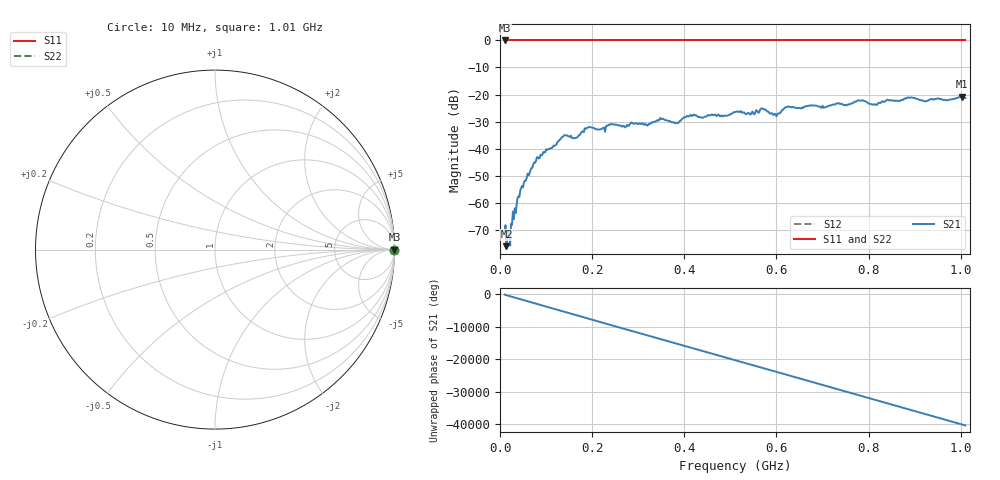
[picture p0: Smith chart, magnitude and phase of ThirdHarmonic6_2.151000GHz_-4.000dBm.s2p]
! 8/17/2025 1:40:54 AM
! C:\ANRITSUVNA\TEMP\TEMP.S2P
! CHANNEL.1
! TR.MEASUREMENT
! RAW.DATA
! RF.CORRECTION.OFF
! AVERAGING.OFF
! IF.BANDWIDTH: 5KHZ
! SWEEPTYPE:  FREQ.SWEEP(Linear)
! Reference Plane Port Info
! PORT:  PORT1  PORT2
! DISTANCE:  0  m  0  m
! TIME:  0  s  0  s
! PHASE.OFFSET:  0  deg.  0  deg.
! LOSS:  0  dB  0  dB
! REF.LOSS:  0  dB  0  dB
! REF.FREQ:  0  Hz  0  Hz
! Power Info
! POWER:  -20  dBm  -20  dBm
! EFF.POWER:  -20  dBm  -20  dBm
! SOURCE.ATTEN:  0  dB  0  dB
! TEST.ATTEN:  0  dB  0  dB
# GHZ S RI R 50.0
! FREQ.GHZ  S11RE  S11IM  S21RE  S21IM  S12RE  S12IM  S22RE  S22IM
!; PortSelection: Port_12
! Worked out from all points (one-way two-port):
!   501 points, 10 MHz to 1.01 GHz, reference 50 ohm
!   highest |S21| = -20.78 dB at 1.002 GHz (marker M1); lowest = -76.1 dB at 14 MHz (marker M2)
!   lowest |S11| = 0.0 dB at 10 MHz (marker M3)
!   |S11| at or under -10 dB: nowhere
!   |S22| runs from 0.0 to 0.0 dB; largest |S21 - S12| = 1.1
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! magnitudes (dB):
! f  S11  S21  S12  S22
! 10 MHz  0.0  -70.3  0.0  0.0
! 14 MHz  0.0  -76.1  0.0  0.0
! 18 MHz  0.0  -70.4  0.0  0.0
! 42 MHz  0.0  -57.9  0.0  0.0
! 78 MHz  0.0  -44.6  0.0  0.0
! 138 MHz  0.0  -35.4  0.0  0.0
! 162 MHz  0.0  -36.2  0.0  0.0
! 178 MHz  0.0  -33.8  0.0  0.0
! 194 MHz  0.0  -32.0  0.0  0.0
! 318 MHz  0.0  -31.3  0.0  0.0
! 344 MHz  0.0  -29.7  0.0  0.0
! 382 MHz  0.0  -30.4  0.0  0.0
! 410 MHz  0.0  -28.1  0.0  0.0
! 510 MHz  0.0  -26.5  0.0  0.0
! 570 MHz  0.0  -25.2  0.0  0.0
! 596 MHz  0.0  -27.1  0.0  0.0
! 622 MHz  0.0  -24.7  0.0  0.0
! 678 MHz  0.0  -24.0  0.0  0.0
! 814 MHz  0.0  -23.6  0.0  0.0
! 844 MHz  0.0  -22.2  0.0  0.0
! 1.002 GHz  0.0  -20.8  0.0  0.0
! 1.01 GHz  0.0  -21.4  0.0  0.0
